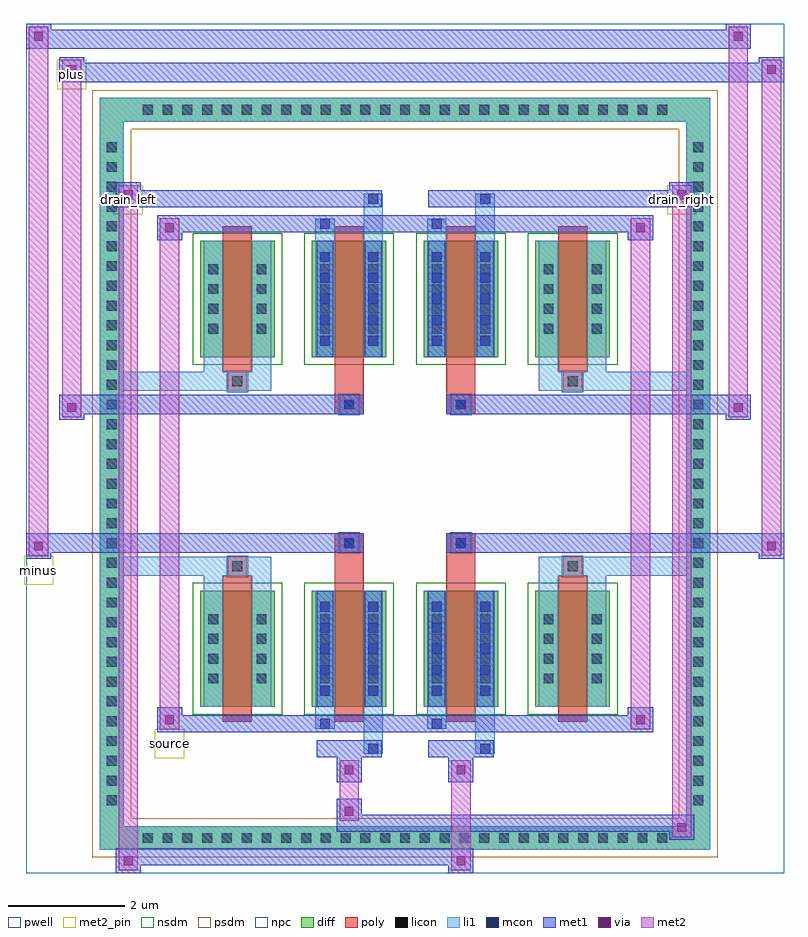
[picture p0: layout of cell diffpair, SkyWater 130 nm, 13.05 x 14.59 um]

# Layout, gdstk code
import gdstk
lib = gdstk.Library(unit=1e-6, precision=5e-09)
def R(c, l, rs):  # rectangles x0, y0, x1, y1
    for r in rs: c.add(gdstk.rectangle(r[:2], r[2:], *l))
def A(c, l, x, y, w, h, nx, ny, dx, dy):  # array of equal rectangles
    R(c, l, [(x+i*dx, y+j*dy, x+i*dx+w, y+j*dy+h) for i in range(nx) for j in range(ny)])
def P(c, l, *ps):  # polygons
    for p in ps: c.add(gdstk.Polygon(p, *l))
pwell = (64, 44)
diff = (65, 20)
poly = (66, 20)
licon = (66, 44)
li1 = (67, 20)
mcon = (67, 44)
met1 = (68, 20)
via = (68, 44)
met2_pin = (69, 16)
met2 = (69, 20)
nsdm = (93, 44)
psdm = (94, 20)
npc = (95, 20)

diffpair = lib.new_cell('diffpair')
R(diffpair, pwell, [(-6.51,-6.86,6.51,7.73), (-3.83,-5.05,-0.01,-0.825), (0.01,-5.05,3.83,-0.825), (-3.83,0.825,-0.01,5.05), (0.01,0.825,3.83,5.05)])
A(diffpair, diff, -4.625, -6.46, 0.41, 0.41, 27, 2, 0.34, 12.51)
A(diffpair, diff, -5.24, -5.815, 0.41, 0.41, 1, 34, 0, 0.34)
A(diffpair, diff, 4.83, -5.815, 0.41, 0.41, 1, 34, 0, 0.34)
A(diffpair, diff, -3.52, -4.005, 1.28, 2, 4, 2, 1.92, 6.01)
R(diffpair, diff, [(-4.625,-6.46,4.625,-6.05), (-5.24,-5.815,-4.83,5.815), (4.83,-5.815,5.24,5.815), (-4.625,6.05,4.625,6.46)])
P(diffpair, diff, [(5.24,6.46),(-5.24,6.46),(-5.24,-6.05),(-4.83,-6.05),(-4.83,6.05),(4.83,6.05),(4.83,-6.05),(-4.83,-6.05),(-5.24,-6.05),(-5.24,-6.46),(5.24,-6.46)])
A(diffpair, poly, -3.13, -4.255, 0.5, 2.5, 4, 2, 1.92, 6.01)
R(diffpair, poly, [(-3.045,-1.755,-2.715,-1.425), (-3.045,-1.755,-2.715,-1.425), (-1.21,-1.755,-0.71,-1.355), (0.71,-1.755,1.21,-1.355), (2.715,-1.755,3.045,-1.425), (2.715,-1.755,3.045,-1.425), (-1.21,-1.355,-0.71,-1.025), (-1.125,-1.355,-0.795,-1.025), (0.71,-1.355,1.21,-1.025), (0.795,-1.355,1.125,-1.025), (-1.21,1.025,-0.71,1.355), (-1.125,1.025,-0.795,1.355), (0.71,1.025,1.21,1.355), (0.795,1.025,1.125,1.355), (-1.21,1.355,-0.71,1.755), (0.71,1.355,1.21,1.755), (-3.045,1.425,-2.715,1.755), (-3.045,1.425,-2.715,1.755), (2.715,1.425,3.045,1.755), (2.715,1.425,3.045,1.755)])
A(diffpair, licon, -4.505, -6.34, 0.17, 0.17, 27, 2, 0.34, 12.51)
A(diffpair, licon, -5.12, -5.695, 0.17, 0.17, 1, 34, 0, 0.34)
A(diffpair, licon, 4.95, -5.695, 0.17, 0.17, 1, 34, 0, 0.34)
A(diffpair, licon, -3.38, -3.6, 0.17, 0.17, 1, 4, 0, 0.34)
A(diffpair, licon, -2.55, -3.6, 0.17, 0.17, 1, 4, 0, 0.34)
A(diffpair, licon, -1.46, -3.6, 0.17, 0.17, 1, 4, 0, 0.34)
A(diffpair, licon, -0.63, -3.6, 0.17, 0.17, 1, 4, 0, 0.34)
A(diffpair, licon, 0.46, -3.6, 0.17, 0.17, 1, 4, 0, 0.34)
A(diffpair, licon, 1.29, -3.6, 0.17, 0.17, 1, 4, 0, 0.34)
A(diffpair, licon, 2.38, -3.6, 0.17, 0.17, 1, 4, 0, 0.34)
A(diffpair, licon, 3.21, -3.6, 0.17, 0.17, 1, 4, 0, 0.34)
A(diffpair, licon, -3.38, 2.41, 0.17, 0.17, 1, 4, 0, 0.34)
A(diffpair, licon, -2.55, 2.41, 0.17, 0.17, 1, 4, 0, 0.34)
A(diffpair, licon, -1.46, 2.41, 0.17, 0.17, 1, 4, 0, 0.34)
A(diffpair, licon, -0.63, 2.41, 0.17, 0.17, 1, 4, 0, 0.34)
A(diffpair, licon, 0.46, 2.41, 0.17, 0.17, 1, 4, 0, 0.34)
A(diffpair, licon, 1.29, 2.41, 0.17, 0.17, 1, 4, 0, 0.34)
A(diffpair, licon, 2.38, 2.41, 0.17, 0.17, 1, 4, 0, 0.34)
A(diffpair, licon, 3.21, 2.41, 0.17, 0.17, 1, 4, 0, 0.34)
R(diffpair, licon, [(-2.965,-1.675,-2.795,-1.505), (2.795,-1.675,2.965,-1.505), (-1.045,-1.275,-0.875,-1.105), (0.875,-1.275,1.045,-1.105), (-1.045,1.105,-0.875,1.275), (0.875,1.105,1.045,1.275), (-2.965,1.505,-2.795,1.675), (2.795,1.505,2.965,1.675)])
A(diffpair, li1, -4.585, -6.42, 0.33, 0.33, 27, 2, 0.34, 12.51)
A(diffpair, li1, -5.2, -5.775, 0.33, 0.33, 1, 34, 0, 0.34)
A(diffpair, li1, 4.87, -5.775, 0.33, 0.33, 1, 34, 0, 0.34)
A(diffpair, li1, -1.46, -3.81, 0.17, 0.17, 1, 5, 0, 0.36)
A(diffpair, li1, -0.63, -3.81, 0.17, 0.17, 1, 5, 0, 0.36)
A(diffpair, li1, 0.46, -3.81, 0.17, 0.17, 1, 5, 0, 0.36)
A(diffpair, li1, 1.29, -3.81, 0.17, 0.17, 1, 5, 0, 0.36)
A(diffpair, li1, -3.46, -3.68, 0.33, 0.33, 1, 4, 0, 0.34)
A(diffpair, li1, -2.63, -3.68, 0.33, 0.33, 1, 4, 0, 0.34)
A(diffpair, li1, -1.54, -3.68, 0.33, 0.33, 1, 4, 0, 0.34)
A(diffpair, li1, -0.71, -3.68, 0.33, 0.33, 1, 4, 0, 0.34)
A(diffpair, li1, 0.38, -3.68, 0.33, 0.33, 1, 4, 0, 0.34)
A(diffpair, li1, 1.21, -3.68, 0.33, 0.33, 1, 4, 0, 0.34)
A(diffpair, li1, 2.3, -3.68, 0.33, 0.33, 1, 4, 0, 0.34)
A(diffpair, li1, 3.13, -3.68, 0.33, 0.33, 1, 4, 0, 0.34)
A(diffpair, li1, -1.46, 2.2, 0.17, 0.17, 1, 5, 0, 0.36)
A(diffpair, li1, -0.63, 2.2, 0.17, 0.17, 1, 5, 0, 0.36)
A(diffpair, li1, 0.46, 2.2, 0.17, 0.17, 1, 5, 0, 0.36)
A(diffpair, li1, 1.29, 2.2, 0.17, 0.17, 1, 5, 0, 0.36)
A(diffpair, li1, -3.46, 2.33, 0.33, 0.33, 1, 4, 0, 0.34)
A(diffpair, li1, -2.63, 2.33, 0.33, 0.33, 1, 4, 0, 0.34)
A(diffpair, li1, -1.54, 2.33, 0.33, 0.33, 1, 4, 0, 0.34)
A(diffpair, li1, -0.71, 2.33, 0.33, 0.33, 1, 4, 0, 0.34)
A(diffpair, li1, 0.38, 2.33, 0.33, 0.33, 1, 4, 0, 0.34)
A(diffpair, li1, 1.21, 2.33, 0.33, 0.33, 1, 4, 0, 0.34)
A(diffpair, li1, 2.3, 2.33, 0.33, 0.33, 1, 4, 0, 0.34)
A(diffpair, li1, 3.13, 2.33, 0.33, 0.33, 1, 4, 0, 0.34)
R(diffpair, li1, [(-5.24,-6.46,-4.83,-6.05), (-5.24,-6.46,-4.83,-6.05), (-4.83,-6.46,4.83,-6.05), (4.83,-6.46,5.24,-6.05), (4.83,-6.46,5.24,-6.05), (-5.24,-6.05,-4.83,6.05), (4.83,-6.05,5.24,6.05), (-0.71,-4.81,-0.38,-4.005), (-0.63,-4.81,-0.46,-4.64), (1.21,-4.81,1.54,-4.005), (1.29,-4.81,1.46,-4.64), (-1.54,-4.38,-1.21,-4.005), (-1.46,-4.38,-1.29,-4.21), (0.38,-4.38,0.71,-4.005), (0.46,-4.38,0.63,-4.21), (-3.46,-4.005,-3.13,-2.005), (-2.63,-4.005,-2.3,-2.005), (-1.54,-4.005,-1.21,-2.005), (-0.71,-4.005,-0.38,-2.005), (0.38,-4.005,0.71,-2.005), (1.21,-4.005,1.54,-2.005), (2.3,-4.005,2.63,-2.005), (3.13,-4.005,3.46,-2.005), (-1.46,-3.81,-1.29,-2.2), (-0.63,-3.81,-0.46,-2.2), (0.46,-3.81,0.63,-2.2), (1.29,-3.81,1.46,-2.2), (-3.46,-2.005,-3.13,-1.425), (-2.63,-2.005,-2.3,-1.425), (2.3,-2.005,2.63,-1.425), (3.13,-2.005,3.46,-1.425), (-5.24,-1.755,-3.045,-1.425), (-3.46,-1.755,-3.045,-1.425), (-3.045,-1.755,-2.715,-1.425), (-2.715,-1.755,-2.3,-1.425), (2.3,-1.755,2.715,-1.425), (2.715,-1.755,3.045,-1.425), (2.715,-1.755,5.24,-1.425), (3.045,-1.755,3.46,-1.425), (-1.125,-1.355,-0.795,-1.025), (0.795,-1.355,1.125,-1.025), (-1.125,1.025,-0.795,1.355), (0.795,1.025,1.125,1.355), (-5.24,1.425,-3.045,1.755), (-3.46,1.425,-3.045,1.755), (-3.46,1.425,-3.13,2.005), (-3.045,1.425,-2.715,1.755), (-2.715,1.425,-2.3,1.755), (-2.63,1.425,-2.3,2.005), (2.3,1.425,2.715,1.755), (2.3,1.425,2.63,2.005), (2.715,1.425,3.045,1.755), (2.715,1.425,5.24,1.755), (3.045,1.425,3.46,1.755), (3.13,1.425,3.46,2.005), (-3.46,2.005,-3.13,4.005), (-2.63,2.005,-2.3,4.005), (-1.54,2.005,-1.21,4.005), (-0.71,2.005,-0.38,4.005), (0.38,2.005,0.71,4.005), (1.21,2.005,1.54,4.005), (2.3,2.005,2.63,4.005), (3.13,2.005,3.46,4.005), (-1.46,2.2,-1.29,3.81), (-0.63,2.2,-0.46,3.81), (0.46,2.2,0.63,3.81), (1.29,2.2,1.46,3.81), (-1.54,4.005,-1.21,4.38), (-0.71,4.005,-0.38,4.81), (0.38,4.005,0.71,4.38), (1.21,4.005,1.54,4.81), (-1.46,4.21,-1.29,4.38), (0.46,4.21,0.63,4.38), (-0.63,4.64,-0.46,4.81), (1.29,4.64,1.46,4.81), (-5.24,6.05,-4.83,6.46), (-5.24,6.05,-4.83,6.46), (-4.83,6.05,4.83,6.46), (4.83,6.05,5.24,6.46), (4.83,6.05,5.24,6.46)])
A(diffpair, mcon, -1.46, -3.81, 0.17, 0.17, 1, 5, 0, 0.36)
A(diffpair, mcon, -0.63, -3.81, 0.17, 0.17, 1, 5, 0, 0.36)
A(diffpair, mcon, 0.46, -3.81, 0.17, 0.17, 1, 5, 0, 0.36)
A(diffpair, mcon, 1.29, -3.81, 0.17, 0.17, 1, 5, 0, 0.36)
A(diffpair, mcon, -1.46, 2.2, 0.17, 0.17, 1, 5, 0, 0.36)
A(diffpair, mcon, -0.63, 2.2, 0.17, 0.17, 1, 5, 0, 0.36)
A(diffpair, mcon, 0.46, 2.2, 0.17, 0.17, 1, 5, 0, 0.36)
A(diffpair, mcon, 1.29, 2.2, 0.17, 0.17, 1, 5, 0, 0.36)
R(diffpair, mcon, [(-0.63,-4.81,-0.46,-4.64), (1.29,-4.81,1.46,-4.64), (-1.46,-4.38,-1.29,-4.21), (0.46,-4.38,0.63,-4.21), (-1.045,-1.275,-0.875,-1.105), (0.875,-1.275,1.045,-1.105), (-1.045,1.105,-0.875,1.275), (0.875,1.105,1.045,1.275), (-1.46,4.21,-1.29,4.38), (0.46,4.21,0.63,4.38), (-0.63,4.64,-0.46,4.81), (1.29,4.64,1.46,4.81)])
A(diffpair, met1, -1.52, -3.87, 0.29, 0.29, 1, 5, 0, 0.36)
A(diffpair, met1, -0.69, -3.87, 0.29, 0.29, 1, 5, 0, 0.36)
A(diffpair, met1, 0.4, -3.87, 0.29, 0.29, 1, 5, 0, 0.36)
A(diffpair, met1, 1.23, -3.87, 0.29, 0.29, 1, 5, 0, 0.36)
A(diffpair, met1, -1.52, 2.14, 0.29, 0.29, 1, 5, 0, 0.36)
A(diffpair, met1, -0.69, 2.14, 0.29, 0.29, 1, 5, 0, 0.36)
A(diffpair, met1, 0.4, 2.14, 0.29, 0.29, 1, 5, 0, 0.36)
A(diffpair, met1, 1.23, 2.14, 0.29, 0.29, 1, 5, 0, 0.36)
R(diffpair, met1, [(-4.97,-6.86,-4.54,-6.43), (0.745,-6.86,1.175,-6.43), (-4.97,-6.72,1.175,-6.43), (4.54,-6.29,4.97,-5.86), (-1.175,-6.15,4.97,-5.86), (-1.175,-6.01,-0.745,-5.58), (-1.175,-5.3,-0.745,-4.87), (0.745,-5.3,1.175,-4.87), (-1.52,-4.87,-0.4,-4.58), (-0.69,-4.87,-0.4,-4.58), (0.4,-4.87,1.52,-4.58), (1.23,-4.87,1.52,-4.58), (-4.26,-4.44,-3.83,-4.01), (-4.26,-4.44,-1.52,-4.15), (-1.52,-4.44,-1.23,-4.15), (-1.52,-4.44,-0.4,-4.15), (-0.4,-4.44,0.4,-4.15), (0.4,-4.44,0.69,-4.15), (0.4,-4.44,1.52,-4.15), (1.52,-4.44,4.26,-4.15), (3.83,-4.44,4.26,-4.01), (-1.52,-4.005,-1.23,-2.005), (-0.69,-4.005,-0.4,-2.005), (0.4,-4.005,0.69,-2.005), (1.23,-4.005,1.52,-2.005), (-6.51,-1.455,-6.08,-1.025), (6.08,-1.455,6.51,-1.025), (-6.51,-1.355,-0.71,-1.025), (-1.21,-1.355,-0.71,-1.025), (0.71,-1.355,1.21,-1.025), (0.71,-1.355,6.51,-1.025), (-1.105,-1.335,-0.815,-1.045), (0.815,-1.335,1.105,-1.045), (-5.94,0.925,-5.51,1.355), (5.51,0.925,5.94,1.355), (-5.94,1.025,-1.21,1.355), (-1.21,1.025,-0.71,1.355), (0.71,1.025,1.21,1.355), (1.21,1.025,5.94,1.355), (-1.105,1.045,-0.815,1.335), (0.815,1.045,1.105,1.335), (-1.52,2.005,-1.23,4.005), (-0.69,2.005,-0.4,4.005), (0.4,2.005,0.69,4.005), (1.23,2.005,1.52,4.005), (-4.26,4.01,-3.83,4.44), (3.83,4.01,4.26,4.44), (-4.26,4.15,-1.52,4.44), (-1.52,4.15,-1.23,4.44), (-1.52,4.15,-0.4,4.44), (-0.4,4.15,0.4,4.44), (0.4,4.15,0.69,4.44), (0.4,4.15,1.52,4.44), (1.52,4.15,4.26,4.44), (-4.97,4.58,-4.54,5.01), (-4.97,4.58,-1.52,4.87), (-1.52,4.58,-0.4,4.87), (-0.69,4.58,-0.4,4.87), (0.4,4.58,1.52,4.87), (1.23,4.58,1.52,4.87), (1.52,4.58,4.97,4.87), (4.54,4.58,4.97,5.01), (-5.94,6.73,-5.51,7.16), (-5.94,6.73,-3.83,7.06), (-3.83,6.73,3.83,7.06), (3.83,6.73,6.51,7.06), (6.08,6.73,6.51,7.16), (-6.51,7.3,-6.08,7.73), (-6.51,7.3,-3.83,7.63), (-3.83,7.3,3.83,7.63), (3.83,7.3,5.94,7.63), (5.51,7.3,5.94,7.73)])
R(diffpair, via, [(-4.83,-6.72,-4.68,-6.57), (0.885,-6.72,1.035,-6.57), (4.68,-6.15,4.83,-6), (-1.035,-5.87,-0.885,-5.72), (-1.035,-5.16,-0.885,-5.01), (0.885,-5.16,1.035,-5.01), (-4.12,-4.3,-3.97,-4.15), (3.97,-4.3,4.12,-4.15), (-6.37,-1.315,-6.22,-1.165), (6.22,-1.315,6.37,-1.165), (-5.8,1.065,-5.65,1.215), (5.65,1.065,5.8,1.215), (-4.12,4.15,-3.97,4.3), (3.97,4.15,4.12,4.3), (-4.83,4.72,-4.68,4.87), (4.68,4.72,4.83,4.87), (-5.8,6.87,-5.65,7.02), (6.22,6.87,6.37,7.02), (-6.37,7.44,-6.22,7.59), (5.65,7.44,5.8,7.59)])
R(diffpair, met2_pin, [(-4.295,-4.89,-3.795,-4.39), (-6.545,-1.905,-6.045,-1.405), (-5.005,4.46,-4.505,4.96), (4.505,4.46,5.005,4.96), (-5.975,6.61,-5.475,7.11)])
R(diffpair, met2, [(-4.92,-6.81,-4.59,-6.48), (-4.92,-6.81,-4.59,4.96), (0.795,-6.81,1.125,-6.48), (0.795,-6.48,1.125,-5.25), (4.59,-6.24,4.92,-5.91), (4.59,-6.24,4.92,4.96), (-1.125,-5.96,-0.795,-5.63), (-1.125,-5.63,-0.795,-5.25), (-1.125,-5.25,-0.795,-4.92), (0.795,-5.25,1.125,-4.92), (-4.21,-4.39,-3.88,-4.06), (-4.21,-4.39,-3.88,4.39), (3.88,-4.39,4.21,-4.06), (3.88,-4.39,4.21,4.39), (-6.46,-1.405,-6.13,-1.075), (-6.46,-1.405,-6.13,7.68), (6.13,-1.405,6.46,-1.075), (6.13,-1.405,6.46,7.11), (-5.89,0.975,-5.56,1.305), (-5.89,0.975,-5.56,7.11), (5.56,0.975,5.89,1.305), (5.56,0.975,5.89,7.68), (-4.21,4.06,-3.88,4.39), (3.88,4.06,4.21,4.39), (-4.92,4.63,-4.59,4.96), (4.59,4.63,4.92,4.96), (-5.89,6.78,-5.56,7.11), (6.13,6.78,6.46,7.11), (-6.46,7.35,-6.13,7.68), (5.56,7.35,5.89,7.68)])
P(diffpair, met2, [(6.46,-1.405),(6.46,-1.405),(6.46,-1.075),(6.46,-1.075)],
  [(6.46,6.78),(6.46,6.78),(6.46,7.11),(6.46,7.11)],
  [(-6.13,-1.405),(-6.13,-1.405),(-6.13,-1.075),(-6.13,-1.075)],
  [(-6.13,7.35),(-6.13,7.35),(-6.13,7.68),(-6.13,7.68)],
  [(5.89,0.975),(5.89,0.975),(5.89,1.305),(5.89,1.305)],
  [(5.89,7.35),(5.89,7.35),(5.89,7.68),(5.89,7.68)],
  [(-5.56,0.975),(-5.56,0.975),(-5.56,1.305),(-5.56,1.305)],
  [(-5.56,6.78),(-5.56,6.78),(-5.56,7.11),(-5.56,7.11)],
  [(-4.59,-6.81),(-4.59,-6.81),(-4.59,-6.48),(-4.59,-6.48)],
  [(-4.59,4.63),(-4.59,4.63),(-4.59,4.96),(-4.59,4.96)],
  [(4.92,-6.24),(4.92,-6.24),(4.92,-5.91),(4.92,-5.91)],
  [(4.92,4.63),(4.92,4.63),(4.92,4.96),(4.92,4.96)],
  [(-3.88,-4.39),(-3.88,-4.39),(-3.88,-4.06),(-3.88,-4.06)],
  [(-3.88,4.06),(-3.88,4.06),(-3.88,4.39),(-3.88,4.39)],
  [(4.21,-4.39),(4.21,-4.39),(4.21,-4.06),(4.21,-4.06)],
  [(4.21,4.06),(4.21,4.06),(4.21,4.39),(4.21,4.39)])
A(diffpair, nsdm, -3.65, -4.135, 1.54, 2.26, 4, 2, 1.92, 6.01)
P(diffpair, psdm, [(5.37,6.59),(-5.37,6.59),(-5.37,-5.92),(-4.7,-5.92),(-4.7,5.92),(4.7,5.92),(4.7,-5.92),(-4.7,-5.92),(-5.37,-5.92),(-5.37,-6.59),(5.37,-6.59)])
R(diffpair, npc, [(-3.065,-1.775,-2.695,-1.405), (2.695,-1.775,3.065,-1.405), (-1.145,-1.375,-0.775,-1.005), (0.775,-1.375,1.145,-1.005), (-1.145,1.005,-0.775,1.375), (0.775,1.005,1.145,1.375), (-3.065,1.405,-2.695,1.775), (2.695,1.405,3.065,1.775)])
diffpair.add(gdstk.Label('minus', (-6.295,-1.655), layer=69, texttype=5))
diffpair.add(gdstk.Label('drain_right', (4.755,4.71), layer=69, texttype=5))
diffpair.add(gdstk.Label('drain_left', (-4.755,4.71), layer=69, texttype=5))
diffpair.add(gdstk.Label('source', (-4.045,-4.64), layer=69, texttype=5))
diffpair.add(gdstk.Label('plus', (-5.725,6.86), layer=69, texttype=5))

lib.write_gds('diffpair.gds')
